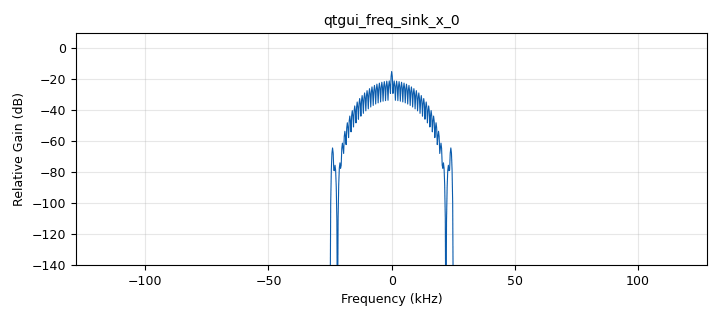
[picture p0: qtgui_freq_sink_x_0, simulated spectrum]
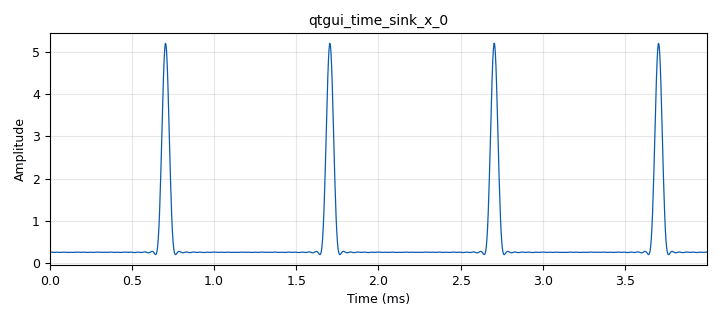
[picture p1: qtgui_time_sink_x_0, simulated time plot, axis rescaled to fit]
options:
  parameters:
    generate_options: qt_gui
    id: Esercizio1
    output_language: python
    title: Not titled yet
  states: {}

blocks:
- name: samp_rate
  id: variable
  parameters:
    value: '256000'
  states: {}
- name: analog_sig_source_x_0
  id: analog_sig_source_x
  parameters:
    amp: '0.5'
    freq: '0'
    offset: '0'
    phase: '0'
    samp_rate: samp_rate
    type: float
    waveform: analog.GR_CONST_WAVE
  states: {}
- name: analog_sig_source_x_0_0
  id: analog_sig_source_x
  parameters:
    amp: '0.4966'
    freq: '1000'
    offset: '0'
    phase: '0.2856'
    samp_rate: samp_rate
    type: float
    waveform: analog.GR_COS_WAVE
  states: {}
- name: analog_sig_source_x_0_0_0
  id: analog_sig_source_x
  parameters:
    amp: '0.4866'
    freq: '2000'
    offset: '0'
    phase: '0.5712'
    samp_rate: samp_rate
    type: float
    waveform: analog.GR_COS_WAVE
  states: {}
- name: analog_sig_source_x_0_0_1
  id: analog_sig_source_x
  parameters:
    amp: '0.4702'
    freq: '3000'
    offset: '0'
    phase: '0.8568'
    samp_rate: samp_rate
    type: float
    waveform: analog.GR_COS_WAVE
  states: {}
- name: analog_sig_source_x_0_0_1_0
  id: analog_sig_source_x
  parameters:
    amp: '0.4480'
    freq: '4000'
    offset: '0'
    phase: '1.1423'
    samp_rate: samp_rate
    type: float
    waveform: analog.GR_COS_WAVE
  states: {}
- name: analog_sig_source_x_0_0_1_0_0
  id: analog_sig_source_x
  parameters:
    amp: '0.4206'
    freq: '5000'
    offset: '0'
    phase: '1.4280'
    samp_rate: samp_rate
    type: float
    waveform: analog.GR_COS_WAVE
  states: {}
- name: analog_sig_source_x_0_0_1_0_0_0
  id: analog_sig_source_x
  parameters:
    amp: '0.3890'
    freq: '6000'
    offset: '0'
    phase: '1.7136'
    samp_rate: samp_rate
    type: float
    waveform: analog.GR_COS_WAVE
  states: {}
- name: analog_sig_source_x_0_0_1_0_0_0_0
  id: analog_sig_source_x
  parameters:
    amp: '0.3542'
    freq: '7000'
    offset: '0'
    phase: '1.9992'
    samp_rate: samp_rate
    type: float
    waveform: analog.GR_COS_WAVE
  states: {}
- name: analog_sig_source_x_0_0_1_0_0_0_0_0
  id: analog_sig_source_x
  parameters:
    amp: '0.3170'
    freq: '8000'
    offset: '0'
    phase: '2.2848'
    samp_rate: samp_rate
    type: float
    waveform: analog.GR_COS_WAVE
  states: {}
- name: analog_sig_source_x_0_0_1_0_0_0_0_0_0
  id: analog_sig_source_x
  parameters:
    amp: '0.2786'
    freq: '9000'
    offset: '0'
    phase: '2.5704'
    samp_rate: samp_rate
    type: float
    waveform: analog.GR_COS_WAVE
  states: {}
- name: analog_sig_source_x_0_0_1_0_0_0_0_0_0_0
  id: analog_sig_source_x
  parameters:
    amp: '0.2402'
    freq: '10000'
    offset: '0'
    phase: '2.8600'
    samp_rate: samp_rate
    type: float
    waveform: analog.GR_COS_WAVE
  states: {}
- name: analog_sig_source_x_0_0_1_0_0_0_0_0_0_0_0
  id: analog_sig_source_x
  parameters:
    amp: '0.2026'
    freq: '11000'
    offset: '0'
    phase: '3.1416'
    samp_rate: samp_rate
    type: float
    waveform: analog.GR_COS_WAVE
  states: {}
- name: analog_sig_source_x_0_0_1_0_0_0_0_0_0_0_0_0
  id: analog_sig_source_x
  parameters:
    amp: '0.1668'
    freq: '12000'
    offset: '0'
    phase: '-2.8600'
    samp_rate: samp_rate
    type: float
    waveform: analog.GR_COS_WAVE
  states: {}
- name: analog_sig_source_x_0_0_1_0_0_0_0_0_0_0_0_0_0
  id: analog_sig_source_x
  parameters:
    amp: '0.1336'
    freq: '13000'
    offset: '0'
    phase: '-2.5704'
    samp_rate: samp_rate
    type: float
    waveform: analog.GR_COS_WAVE
  states: {}
- name: analog_sig_source_x_0_0_1_0_0_0_0_0_0_0_0_0_0_0
  id: analog_sig_source_x
  parameters:
    amp: '0.1034'
    freq: '14000'
    offset: '0'
    phase: '-2.2848'
    samp_rate: samp_rate
    type: float
    waveform: analog.GR_COS_WAVE
  states: {}
- name: analog_sig_source_x_0_0_1_0_0_0_0_0_0_0_0_0_0_0_0
  id: analog_sig_source_x
  parameters:
    amp: '0.0772'
    freq: '15000'
    offset: '0'
    phase: '-1.9992'
    samp_rate: samp_rate
    type: float
    waveform: analog.GR_COS_WAVE
  states: {}
- name: analog_sig_source_x_0_0_1_0_0_0_0_0_0_0_0_0_0_0_0_0
  id: analog_sig_source_x
  parameters:
    amp: '0.0547'
    freq: '16000'
    offset: '0'
    phase: '-1.7136'
    samp_rate: samp_rate
    type: float
    waveform: analog.GR_COS_WAVE
  states: {}
- name: analog_sig_source_x_0_0_1_0_0_0_0_0_0_0_0_0_0_0_0_0_0
  id: analog_sig_source_x
  parameters:
    amp: '0.03638'
    freq: '17000'
    offset: '0'
    phase: '-1.4280'
    samp_rate: samp_rate
    type: float
    waveform: analog.GR_COS_WAVE
  states: {}
- name: analog_sig_source_x_0_0_1_0_0_0_0_0_0_0_0_0_0_0_0_0_1
  id: analog_sig_source_x
  parameters:
    amp: '0.02212'
    freq: '18000'
    offset: '0'
    phase: '-1.1424'
    samp_rate: samp_rate
    type: float
    waveform: analog.GR_COS_WAVE
  states: {}
- name: analog_sig_source_x_0_0_1_0_0_0_0_0_0_0_0_0_0_0_0_0_1_0
  id: analog_sig_source_x
  parameters:
    amp: '0.01172'
    freq: '19000'
    offset: '0'
    phase: '-0.8568'
    samp_rate: samp_rate
    type: float
    waveform: analog.GR_COS_WAVE
  states: {}
- name: analog_sig_source_x_0_0_1_0_0_0_0_0_0_0_0_0_0_0_0_0_1_0_0
  id: analog_sig_source_x
  parameters:
    amp: '0.004866'
    freq: '20000'
    offset: '0'
    phase: '-0.5712'
    samp_rate: samp_rate
    type: float
    waveform: analog.GR_COS_WAVE
  states: {}
- name: analog_sig_source_x_0_0_1_0_0_0_0_0_0_0_0_0_0_0_0_0_1_0_0_0
  id: analog_sig_source_x
  parameters:
    amp: '0.001126'
    freq: '21000'
    offset: '0'
    phase: '-0.2856'
    samp_rate: samp_rate
    type: float
    waveform: analog.GR_COS_WAVE
  states: {}
- name: analog_sig_source_x_0_0_1_0_0_0_0_0_0_0_0_0_0_0_0_0_1_0_0_0_0
  id: analog_sig_source_x
  parameters:
    amp: '0'
    freq: '22000'
    offset: '0'
    phase: '0'
    samp_rate: samp_rate
    type: float
    waveform: analog.GR_COS_WAVE
  states: {}
- name: analog_sig_source_x_0_0_1_0_0_0_0_0_0_0_0_0_0_0_0_0_1_0_0_0_0_0
  id: analog_sig_source_x
  parameters:
    amp: '0.000939'
    freq: '23000'
    offset: '0'
    phase: '0.2856'
    samp_rate: samp_rate
    type: float
    waveform: analog.GR_COS_WAVE
  states: {}
- name: analog_sig_source_x_0_0_1_0_0_0_0_0_0_0_0_0_0_0_0_0_1_0_0_0_0_0_0
  id: analog_sig_source_x
  parameters:
    amp: '0.0034'
    freq: '24000'
    offset: '0'
    phase: '0.5712'
    samp_rate: samp_rate
    type: float
    waveform: analog.GR_COS_WAVE
  states: {}
- name: blocks_add_xx_0
  id: blocks_add_xx
  parameters:
    num_inputs: '25'
    type: float
  states: {}
- name: blocks_throttle_0
  id: blocks_throttle
  parameters:
    samples_per_second: samp_rate
    type: float
  states: {}
- name: qtgui_freq_sink_x_0
  id: qtgui_freq_sink_x
  parameters:
    bw: samp_rate
    fc: '0'
    fftsize: '1024'
    grid: 'True'
    type: float
  states: {}
- name: qtgui_time_sink_x_0
  id: qtgui_time_sink_x
  parameters:
    size: '1024'
    srate: samp_rate
    type: float
  states: {}

connections:
- [analog_sig_source_x_0, '0', blocks_add_xx_0, '0']
- [analog_sig_source_x_0_0, '0', blocks_add_xx_0, '1']
- [analog_sig_source_x_0_0_0, '0', blocks_add_xx_0, '2']
- [analog_sig_source_x_0_0_1, '0', blocks_add_xx_0, '3']
- [analog_sig_source_x_0_0_1_0, '0', blocks_add_xx_0, '4']
- [analog_sig_source_x_0_0_1_0_0, '0', blocks_add_xx_0, '5']
- [analog_sig_source_x_0_0_1_0_0_0, '0', blocks_add_xx_0, '6']
- [analog_sig_source_x_0_0_1_0_0_0_0, '0', blocks_add_xx_0, '7']
- [analog_sig_source_x_0_0_1_0_0_0_0_0, '0', blocks_add_xx_0, '8']
- [analog_sig_source_x_0_0_1_0_0_0_0_0_0, '0', blocks_add_xx_0, '9']
- [analog_sig_source_x_0_0_1_0_0_0_0_0_0_0, '0', blocks_add_xx_0, '10']
- [analog_sig_source_x_0_0_1_0_0_0_0_0_0_0_0, '0', blocks_add_xx_0, '11']
- [analog_sig_source_x_0_0_1_0_0_0_0_0_0_0_0_0, '0', blocks_add_xx_0, '12']
- [analog_sig_source_x_0_0_1_0_0_0_0_0_0_0_0_0_0, '0', blocks_add_xx_0, '13']
- [analog_sig_source_x_0_0_1_0_0_0_0_0_0_0_0_0_0_0, '0', blocks_add_xx_0, '14']
- [analog_sig_source_x_0_0_1_0_0_0_0_0_0_0_0_0_0_0_0, '0', blocks_add_xx_0, '15']
- [analog_sig_source_x_0_0_1_0_0_0_0_0_0_0_0_0_0_0_0_0, '0', blocks_add_xx_0, '16']
- [analog_sig_source_x_0_0_1_0_0_0_0_0_0_0_0_0_0_0_0_0_0, '0', blocks_add_xx_0, '17']
- [analog_sig_source_x_0_0_1_0_0_0_0_0_0_0_0_0_0_0_0_0_1, '0', blocks_add_xx_0, '18']
- [analog_sig_source_x_0_0_1_0_0_0_0_0_0_0_0_0_0_0_0_0_1_0, '0', blocks_add_xx_0, '19']
- [analog_sig_source_x_0_0_1_0_0_0_0_0_0_0_0_0_0_0_0_0_1_0_0, '0', blocks_add_xx_0, '20']
- [analog_sig_source_x_0_0_1_0_0_0_0_0_0_0_0_0_0_0_0_0_1_0_0_0, '0', blocks_add_xx_0, '21']
- [analog_sig_source_x_0_0_1_0_0_0_0_0_0_0_0_0_0_0_0_0_1_0_0_0_0, '0', blocks_add_xx_0, '22']
- [analog_sig_source_x_0_0_1_0_0_0_0_0_0_0_0_0_0_0_0_0_1_0_0_0_0_0, '0', blocks_add_xx_0, '23']
- [analog_sig_source_x_0_0_1_0_0_0_0_0_0_0_0_0_0_0_0_0_1_0_0_0_0_0_0, '0', blocks_add_xx_0, '24']
- [blocks_add_xx_0, '0', blocks_throttle_0, '0']
- [blocks_throttle_0, '0', qtgui_freq_sink_x_0, '0']
- [blocks_throttle_0, '0', qtgui_time_sink_x_0, '0']

metadata:
  file_format: 1
  grc_version: 3.10.5.1
